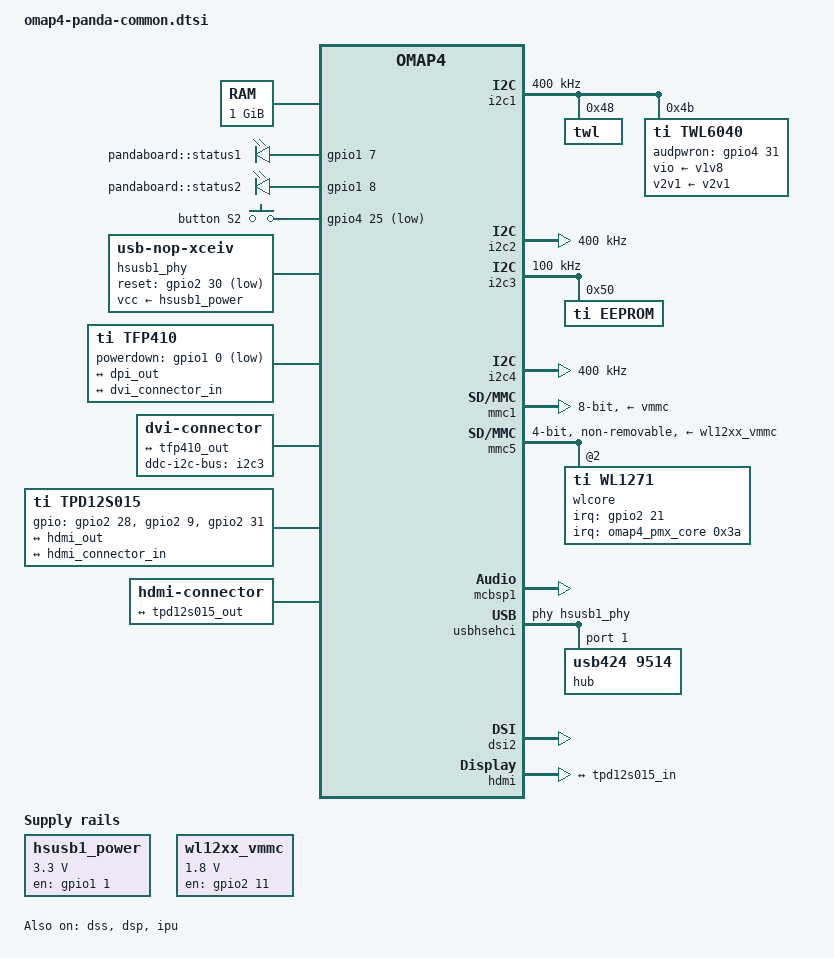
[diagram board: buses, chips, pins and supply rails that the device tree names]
// SPDX-License-Identifier: GPL-2.0-only
/*
 * Copyright (C) 2011-2013 Texas Instruments Incorporated - http://www.ti.com/
 */
#include <dt-bindings/input/input.h>
#include "elpida_ecb240abacn.dtsi"
#include "omap4-mcpdm.dtsi"

/ {
	memory@80000000 {
		device_type = "memory";
		reg = <0x80000000 0x40000000>; /* 1 GB */
	};

	reserved-memory {
		#address-cells = <1>;
		#size-cells = <1>;
		ranges;

		dsp_memory_region: dsp-memory@98000000 {
			compatible = "shared-dma-pool";
			reg = <0x98000000 0x800000>;
			reusable;
			status = "okay";
		};

		ipu_memory_region: ipu-memory@98800000 {
			compatible = "shared-dma-pool";
			reg = <0x98800000 0x7000000>;
			reusable;
			status = "okay";
		};
	};

	chosen {
		stdout-path = &uart3;
	};

	aliases {
		display0 = &dvi0;
		display1 = &hdmi0;
		ethernet = &ethernet;
	};

	leds: leds {
		compatible = "gpio-leds";
		pinctrl-names = "default";
		pinctrl-0 = <
			&led_wkgpio_pins
		>;

		heartbeat {
			label = "pandaboard::status1";
			gpios = <&gpio1 7 GPIO_ACTIVE_HIGH>;
			linux,default-trigger = "heartbeat";
		};

		mmc {
			label = "pandaboard::status2";
			gpios = <&gpio1 8 GPIO_ACTIVE_HIGH>;
			linux,default-trigger = "mmc0";
		};
	};

	gpio_keys: gpio_keys {
		compatible = "gpio-keys";
		pinctrl-names = "default";
		pinctrl-0 = <
			&button_pins
		>;

		buttonS2 {
			label = "button S2";
			gpios = <&gpio4 25 GPIO_ACTIVE_LOW>;	/* gpio_121 */
			linux,code = <BTN_0>;
			wakeup-source;
		};
	};

	sound: sound {
		compatible = "ti,abe-twl6040";
		ti,model = "PandaBoard";

		ti,mclk-freq = <38400000>;

		ti,mcpdm = <&mcpdm>;

		ti,twl6040 = <&twl6040>;

		/* Audio routing */
		ti,audio-routing =
			"Headset Stereophone", "HSOL",
			"Headset Stereophone", "HSOR",
			"Ext Spk", "HFL",
			"Ext Spk", "HFR",
			"Line Out", "AUXL",
			"Line Out", "AUXR",
			"HSMIC", "Headset Mic",
			"Headset Mic", "Headset Mic Bias",
			"AFML", "Line In",
			"AFMR", "Line In";
	};

	/* HS USB Port 1 Power */
	hsusb1_power: hsusb1_power_reg {
		compatible = "regulator-fixed";
		regulator-name = "hsusb1_vbus";
		regulator-min-microvolt = <3300000>;
		regulator-max-microvolt = <3300000>;
		gpio = <&gpio1 1 GPIO_ACTIVE_HIGH>;	/* gpio_1 */
		startup-delay-us = <70000>;
		enable-active-high;
		/*
		 * boot-on is required along with always-on as the
		 * regulator framework doesn't enable the regulator
		 * if boot-on is not there.
		 */
		regulator-always-on;
		regulator-boot-on;
	};

	/* HS USB Host PHY on PORT 1 */
	hsusb1_phy: hsusb1_phy {
		compatible = "usb-nop-xceiv";
		reset-gpios = <&gpio2 30 GPIO_ACTIVE_LOW>;   /* gpio_62 */
		#phy-cells = <0>;
		vcc-supply = <&hsusb1_power>;
		clocks = <&auxclk3_ck>;
		clock-names = "main_clk";
		clock-frequency = <19200000>;
	};

	/* regulator for wl12xx on sdio5 */
	wl12xx_vmmc: wl12xx_vmmc {
		pinctrl-names = "default";
		pinctrl-0 = <&wl12xx_gpio>;
		compatible = "regulator-fixed";
		regulator-name = "vwl1271";
		regulator-min-microvolt = <1800000>;
		regulator-max-microvolt = <1800000>;
		gpio = <&gpio2 11 GPIO_ACTIVE_HIGH>;
		startup-delay-us = <70000>;
		enable-active-high;
	};

	tfp410: encoder0 {
		compatible = "ti,tfp410";
		powerdown-gpios = <&gpio1 0 GPIO_ACTIVE_LOW>;	/* gpio_0 */

		ports {
			#address-cells = <1>;
			#size-cells = <0>;

			port@0 {
				reg = <0>;

				tfp410_in: endpoint {
					remote-endpoint = <&dpi_out>;
				};
			};

			port@1 {
				reg = <1>;

				tfp410_out: endpoint {
					remote-endpoint = <&dvi_connector_in>;
				};
			};
		};
	};

	dvi0: connector0 {
		compatible = "dvi-connector";
		label = "dvi";

		digital;

		ddc-i2c-bus = <&i2c3>;

		port {
			dvi_connector_in: endpoint {
				remote-endpoint = <&tfp410_out>;
			};
		};
	};

	tpd12s015: encoder1 {
		compatible = "ti,tpd12s015";

		gpios = <&gpio2 28 GPIO_ACTIVE_HIGH>,	/* 60, CT CP HPD */
			<&gpio2 9 GPIO_ACTIVE_HIGH>,	/* 41, LS OE */
			<&gpio2 31 GPIO_ACTIVE_HIGH>;	/* 63, HPD */

		ports {
			#address-cells = <1>;
			#size-cells = <0>;

			port@0 {
				reg = <0>;

				tpd12s015_in: endpoint {
					remote-endpoint = <&hdmi_out>;
				};
			};

			port@1 {
				reg = <1>;

				tpd12s015_out: endpoint {
					remote-endpoint = <&hdmi_connector_in>;
				};
			};
		};
	};

	hdmi0: connector1 {
		compatible = "hdmi-connector";
		label = "hdmi";

		type = "a";

		port {
			hdmi_connector_in: endpoint {
				remote-endpoint = <&tpd12s015_out>;
			};
		};
	};
};

&omap4_pmx_core {
	pinctrl-names = "default";
	pinctrl-0 = <
			&dss_dpi_pins
			&tfp410_pins
			&dss_hdmi_pins
			&tpd12s015_pins
			&hsusbb1_pins
	>;

	twl6040_pins: pinmux_twl6040_pins {
		pinctrl-single,pins = <
			OMAP4_IOPAD(0x120, PIN_OUTPUT | MUX_MODE3)	/* hdq_sio.gpio_127 */
			OMAP4_IOPAD(0x1a0, PIN_INPUT | MUX_MODE0)	/* sys_nirq2.sys_nirq2 */
		>;
	};

	mcbsp1_pins: pinmux_mcbsp1_pins {
		pinctrl-single,pins = <
			OMAP4_IOPAD(0x0fe, PIN_INPUT | MUX_MODE0)		/* abe_mcbsp1_clkx.abe_mcbsp1_clkx */
			OMAP4_IOPAD(0x100, PIN_INPUT_PULLDOWN | MUX_MODE0)	/* abe_mcbsp1_dr.abe_mcbsp1_dr */
			OMAP4_IOPAD(0x102, PIN_OUTPUT_PULLDOWN | MUX_MODE0)	/* abe_mcbsp1_dx.abe_mcbsp1_dx */
			OMAP4_IOPAD(0x104, PIN_INPUT | MUX_MODE0)		/* abe_mcbsp1_fsx.abe_mcbsp1_fsx */
		>;
	};

	dss_dpi_pins: pinmux_dss_dpi_pins {
		pinctrl-single,pins = <
			OMAP4_IOPAD(0x162, PIN_OUTPUT | MUX_MODE5)	/* dispc2_data23 */
			OMAP4_IOPAD(0x164, PIN_OUTPUT | MUX_MODE5) 	/* dispc2_data22 */
			OMAP4_IOPAD(0x166, PIN_OUTPUT | MUX_MODE5)	/* dispc2_data21 */
			OMAP4_IOPAD(0x168, PIN_OUTPUT | MUX_MODE5)	/* dispc2_data20 */
			OMAP4_IOPAD(0x16a, PIN_OUTPUT | MUX_MODE5)	/* dispc2_data19 */
			OMAP4_IOPAD(0x16c, PIN_OUTPUT | MUX_MODE5)	/* dispc2_data18 */
			OMAP4_IOPAD(0x16e, PIN_OUTPUT | MUX_MODE5)	/* dispc2_data15 */
			OMAP4_IOPAD(0x170, PIN_OUTPUT | MUX_MODE5)	/* dispc2_data14 */
			OMAP4_IOPAD(0x172, PIN_OUTPUT | MUX_MODE5)	/* dispc2_data13 */
			OMAP4_IOPAD(0x174, PIN_OUTPUT | MUX_MODE5)	/* dispc2_data12 */
			OMAP4_IOPAD(0x176, PIN_OUTPUT | MUX_MODE5)	/* dispc2_data11 */

			OMAP4_IOPAD(0x1b4, PIN_OUTPUT | MUX_MODE5)	/* dispc2_data10 */
			OMAP4_IOPAD(0x1b6, PIN_OUTPUT | MUX_MODE5)	/* dispc2_data9 */
			OMAP4_IOPAD(0x1b8, PIN_OUTPUT | MUX_MODE5)	/* dispc2_data16 */
			OMAP4_IOPAD(0x1ba, PIN_OUTPUT | MUX_MODE5)	/* dispc2_data17 */
			OMAP4_IOPAD(0x1bc, PIN_OUTPUT | MUX_MODE5)	/* dispc2_hsync */
			OMAP4_IOPAD(0x1be, PIN_OUTPUT | MUX_MODE5)	/* dispc2_pclk */
			OMAP4_IOPAD(0x1c0, PIN_OUTPUT | MUX_MODE5)	/* dispc2_vsync */
			OMAP4_IOPAD(0x1c2, PIN_OUTPUT | MUX_MODE5)	/* dispc2_de */
			OMAP4_IOPAD(0x1c4, PIN_OUTPUT | MUX_MODE5)	/* dispc2_data8 */
			OMAP4_IOPAD(0x1c6, PIN_OUTPUT | MUX_MODE5)	/* dispc2_data7 */
			OMAP4_IOPAD(0x1c8, PIN_OUTPUT | MUX_MODE5)	/* dispc2_data6 */
			OMAP4_IOPAD(0x1ca, PIN_OUTPUT | MUX_MODE5)	/* dispc2_data5 */
			OMAP4_IOPAD(0x1cc, PIN_OUTPUT | MUX_MODE5)	/* dispc2_data4 */
			OMAP4_IOPAD(0x1ce, PIN_OUTPUT | MUX_MODE5)	/* dispc2_data3 */

			OMAP4_IOPAD(0x1d0, PIN_OUTPUT | MUX_MODE5)	/* dispc2_data2 */
			OMAP4_IOPAD(0x1d2, PIN_OUTPUT | MUX_MODE5)	/* dispc2_data1 */
			OMAP4_IOPAD(0x1d4, PIN_OUTPUT | MUX_MODE5)	/* dispc2_data0 */
		>;
	};

	tfp410_pins: pinmux_tfp410_pins {
		pinctrl-single,pins = <
			OMAP4_IOPAD(0x184, PIN_OUTPUT | MUX_MODE3)	/* gpio_0 */
		>;
	};

	dss_hdmi_pins: pinmux_dss_hdmi_pins {
		pinctrl-single,pins = <
			OMAP4_IOPAD(0x09a, PIN_INPUT | MUX_MODE0)		/* hdmi_cec.hdmi_cec */
			OMAP4_IOPAD(0x09c, PIN_INPUT_PULLUP | MUX_MODE0)	/* hdmi_scl.hdmi_scl */
			OMAP4_IOPAD(0x09e, PIN_INPUT_PULLUP | MUX_MODE0)	/* hdmi_sda.hdmi_sda */
		>;
	};

	tpd12s015_pins: pinmux_tpd12s015_pins {
		pinctrl-single,pins = <
			OMAP4_IOPAD(0x062, PIN_OUTPUT | MUX_MODE3)		/* gpmc_a17.gpio_41 */
			OMAP4_IOPAD(0x088, PIN_OUTPUT | MUX_MODE3)		/* gpmc_nbe1.gpio_60 */
			OMAP4_IOPAD(0x098, PIN_INPUT_PULLDOWN | MUX_MODE3)	/* hdmi_hpd.gpio_63 */
		>;
	};

	hsusbb1_pins: pinmux_hsusbb1_pins {
		pinctrl-single,pins = <
			OMAP4_IOPAD(0x0c2, PIN_INPUT_PULLDOWN | MUX_MODE4)	/* usbb1_ulpitll_clk.usbb1_ulpiphy_clk */
			OMAP4_IOPAD(0x0c4, PIN_OUTPUT | MUX_MODE4)		/* usbb1_ulpitll_stp.usbb1_ulpiphy_stp */
			OMAP4_IOPAD(0x0c6, PIN_INPUT_PULLDOWN | MUX_MODE4)	/* usbb1_ulpitll_dir.usbb1_ulpiphy_dir */
			OMAP4_IOPAD(0x0c8, PIN_INPUT_PULLDOWN | MUX_MODE4)	/* usbb1_ulpitll_nxt.usbb1_ulpiphy_nxt */
			OMAP4_IOPAD(0x0ca, PIN_INPUT_PULLDOWN | MUX_MODE4)	/* usbb1_ulpitll_dat0.usbb1_ulpiphy_dat0 */
			OMAP4_IOPAD(0x0cc, PIN_INPUT_PULLDOWN | MUX_MODE4)	/* usbb1_ulpitll_dat1.usbb1_ulpiphy_dat1 */
			OMAP4_IOPAD(0x0ce, PIN_INPUT_PULLDOWN | MUX_MODE4)	/* usbb1_ulpitll_dat2.usbb1_ulpiphy_dat2 */
			OMAP4_IOPAD(0x0d0, PIN_INPUT_PULLDOWN | MUX_MODE4)	/* usbb1_ulpitll_dat3.usbb1_ulpiphy_dat3 */
			OMAP4_IOPAD(0x0d2, PIN_INPUT_PULLDOWN | MUX_MODE4)	/* usbb1_ulpitll_dat4.usbb1_ulpiphy_dat4 */
			OMAP4_IOPAD(0x0d4, PIN_INPUT_PULLDOWN | MUX_MODE4)	/* usbb1_ulpitll_dat5.usbb1_ulpiphy_dat5 */
			OMAP4_IOPAD(0x0d6, PIN_INPUT_PULLDOWN | MUX_MODE4)	/* usbb1_ulpitll_dat6.usbb1_ulpiphy_dat6 */
			OMAP4_IOPAD(0x0d8, PIN_INPUT_PULLDOWN | MUX_MODE4)	/* usbb1_ulpitll_dat7.usbb1_ulpiphy_dat7 */
		>;
	};

	i2c1_pins: pinmux_i2c1_pins {
		pinctrl-single,pins = <
			OMAP4_IOPAD(0x122, PIN_INPUT_PULLUP | MUX_MODE0)	/* i2c1_scl */
			OMAP4_IOPAD(0x124, PIN_INPUT_PULLUP | MUX_MODE0)	/* i2c1_sda */
		>;
	};

	i2c2_pins: pinmux_i2c2_pins {
		pinctrl-single,pins = <
			OMAP4_IOPAD(0x126, PIN_INPUT_PULLUP | MUX_MODE0)	/* i2c2_scl */
			OMAP4_IOPAD(0x128, PIN_INPUT_PULLUP | MUX_MODE0)	/* i2c2_sda */
		>;
	};

	i2c3_pins: pinmux_i2c3_pins {
		pinctrl-single,pins = <
			OMAP4_IOPAD(0x12a, PIN_INPUT_PULLUP | MUX_MODE0)	/* i2c3_scl */
			OMAP4_IOPAD(0x12c, PIN_INPUT_PULLUP | MUX_MODE0)	/* i2c3_sda */
		>;
	};

	i2c4_pins: pinmux_i2c4_pins {
		pinctrl-single,pins = <
			OMAP4_IOPAD(0x12e, PIN_INPUT_PULLUP | MUX_MODE0)	/* i2c4_scl */
			OMAP4_IOPAD(0x130, PIN_INPUT_PULLUP | MUX_MODE0)	/* i2c4_sda */
		>;
	};

	/*
	 * wl12xx GPIO outputs for WLAN_EN, BT_EN, FM_EN, BT_WAKEUP
	 * REVISIT: Are the pull-ups needed for GPIO 48 and 49?
	 */
	wl12xx_gpio: pinmux_wl12xx_gpio {
		pinctrl-single,pins = <
			OMAP4_IOPAD(0x066, PIN_OUTPUT | MUX_MODE3)		/* gpmc_a19.gpio_43 */
			OMAP4_IOPAD(0x06c, PIN_OUTPUT | MUX_MODE3)		/* gpmc_a22.gpio_46 */
			OMAP4_IOPAD(0x070, PIN_OUTPUT_PULLUP | MUX_MODE3)	/* gpmc_a24.gpio_48 */
			OMAP4_IOPAD(0x072, PIN_OUTPUT_PULLUP | MUX_MODE3)	/* gpmc_a25.gpio_49 */
		>;
	};

	/* wl12xx GPIO inputs and SDIO pins */
	wl12xx_pins: pinmux_wl12xx_pins {
		pinctrl-single,pins = <
			OMAP4_IOPAD(0x078, PIN_INPUT | MUX_MODE3)		/* gpmc_ncs2.gpio_52 */
			OMAP4_IOPAD(0x07a, PIN_INPUT | MUX_MODE3)		/* gpmc_ncs3.gpio_53 */
			OMAP4_IOPAD(0x148, PIN_INPUT_PULLUP | MUX_MODE0)	/* sdmmc5_clk.sdmmc5_clk */
			OMAP4_IOPAD(0x14a, PIN_INPUT_PULLUP | MUX_MODE0)	/* sdmmc5_cmd.sdmmc5_cmd */
			OMAP4_IOPAD(0x14c, PIN_INPUT_PULLUP | MUX_MODE0)	/* sdmmc5_dat0.sdmmc5_dat0 */
			OMAP4_IOPAD(0x14e, PIN_INPUT_PULLUP | MUX_MODE0)	/* sdmmc5_dat1.sdmmc5_dat1 */
			OMAP4_IOPAD(0x150, PIN_INPUT_PULLUP | MUX_MODE0)	/* sdmmc5_dat2.sdmmc5_dat2 */
			OMAP4_IOPAD(0x152, PIN_INPUT_PULLUP | MUX_MODE0)	/* sdmmc5_dat3.sdmmc5_dat3 */
		>;
	};

	button_pins: pinmux_button_pins {
		pinctrl-single,pins = <
			OMAP4_IOPAD(0x114, PIN_INPUT_PULLUP | MUX_MODE3)	/* gpio_121 */
		>;
	};
};

&omap4_pmx_wkup {
	led_wkgpio_pins: pinmux_leds_wkpins {
		pinctrl-single,pins = <
			OMAP4_IOPAD(0x05a, PIN_OUTPUT | MUX_MODE3)	/* gpio_wk7 */
			OMAP4_IOPAD(0x05c, PIN_OUTPUT | MUX_MODE3)	/* gpio_wk8 */
		>;
	};
};

&i2c1 {
	pinctrl-names = "default";
	pinctrl-0 = <&i2c1_pins>;

	clock-frequency = <400000>;

	twl: twl@48 {
		reg = <0x48>;
		/* IRQ# = 7 */
		interrupts = <GIC_SPI 7 IRQ_TYPE_LEVEL_HIGH>; /* IRQ_SYS_1N cascaded to gic */
	};

	twl6040: twl@4b {
		compatible = "ti,twl6040";
		#clock-cells = <0>;
		reg = <0x4b>;

		pinctrl-names = "default";
		pinctrl-0 = <&twl6040_pins>;

		/* IRQ# = 119 */
		interrupts = <GIC_SPI 119 IRQ_TYPE_LEVEL_HIGH>; /* IRQ_SYS_2N cascaded to gic */
		ti,audpwron-gpio = <&gpio4 31 GPIO_ACTIVE_HIGH>;  /* gpio line 127 */

		vio-supply = <&v1v8>;
		v2v1-supply = <&v2v1>;
		enable-active-high;
	};
};

#include "twl6030.dtsi"
#include "twl6030_omap4.dtsi"

&i2c2 {
	pinctrl-names = "default";
	pinctrl-0 = <&i2c2_pins>;

	clock-frequency = <400000>;
};

&i2c3 {
	pinctrl-names = "default";
	pinctrl-0 = <&i2c3_pins>;

	clock-frequency = <100000>;

	/*
	 * Display monitor features are burnt in their EEPROM as EDID data.
	 * The EEPROM is connected as I2C slave device.
	 */
	eeprom@50 {
		compatible = "ti,eeprom";
		reg = <0x50>;
	};
};

&i2c4 {
	pinctrl-names = "default";
	pinctrl-0 = <&i2c4_pins>;

	clock-frequency = <400000>;
};

&mmc1 {
	vmmc-supply = <&vmmc>;
	bus-width = <8>;
};

&mmc2 {
	status = "disabled";
};

&mmc3 {
	status = "disabled";
};

&mmc4 {
	status = "disabled";
};

&mmc5 {
	pinctrl-names = "default";
	pinctrl-0 = <&wl12xx_pins>;
	vmmc-supply = <&wl12xx_vmmc>;
	interrupts-extended = <&wakeupgen GIC_SPI 59 IRQ_TYPE_LEVEL_HIGH
			       &omap4_pmx_core 0x10e>;
	non-removable;
	bus-width = <4>;
	cap-power-off-card;

	#address-cells = <1>;
	#size-cells = <0>;
	wlcore: wlcore@2 {
		compatible = "ti,wl1271";
		reg = <2>;
		/* gpio_53 with gpmc_ncs3 pad as wakeup */
		interrupts-extended = <&gpio2 21 IRQ_TYPE_LEVEL_HIGH>,
				      <&omap4_pmx_core 0x3a>;
		interrupt-names = "irq", "wakeup";
		ref-clock-frequency = <38400000>;
	};
};

&emif1 {
	cs1-used;
	device-handle = <&elpida_ECB240ABACN>;
};

&emif2 {
	cs1-used;
	device-handle = <&elpida_ECB240ABACN>;
};

&mcbsp1 {
	pinctrl-names = "default";
	pinctrl-0 = <&mcbsp1_pins>;
	status = "okay";
};

&twl_usb_comparator {
	usb-supply = <&vusb>;
};

&uart2 {
	interrupts-extended = <&wakeupgen GIC_SPI 73 IRQ_TYPE_LEVEL_HIGH
			       &omap4_pmx_core OMAP4_UART2_RX>;
};

&uart3 {
	interrupts-extended = <&wakeupgen GIC_SPI 74 IRQ_TYPE_LEVEL_HIGH
			       &omap4_pmx_core OMAP4_UART3_RX>;
};

&uart4 {
	interrupts-extended = <&wakeupgen GIC_SPI 70 IRQ_TYPE_LEVEL_HIGH
			       &omap4_pmx_core OMAP4_UART4_RX>;
};

&usb_otg_hs {
	interface-type = <1>;
	mode = <3>;
	power = <50>;
};

&usbhshost {
	port1-mode = "ehci-phy";
};

&usbhsehci {
	phys = <&hsusb1_phy>;

	#address-cells = <1>;
	#size-cells = <0>;

	hub@1 {
		compatible = "usb424,9514";
		reg = <1>;
		#address-cells = <1>;
		#size-cells = <0>;

		ethernet: usbether@1 {
			compatible = "usb424,ec00";
			reg = <1>;
		};
	};
};

&dss {
	status = "ok";

	port {
		dpi_out: endpoint {
			remote-endpoint = <&tfp410_in>;
			data-lines = <24>;
		};
	};
};

&dsi2 {
	status = "ok";
	vdd-supply = <&vcxio>;
};

&hdmi {
	status = "ok";
	vdda-supply = <&vdac>;

	port {
		hdmi_out: endpoint {
			remote-endpoint = <&tpd12s015_in>;
		};
	};
};

&dsp {
	status = "okay";
	memory-region = <&dsp_memory_region>;
	ti,timers = <&timer5>;
};

&ipu {
	status = "okay";
	memory-region = <&ipu_memory_region>;
	ti,timers = <&timer3>;
};
